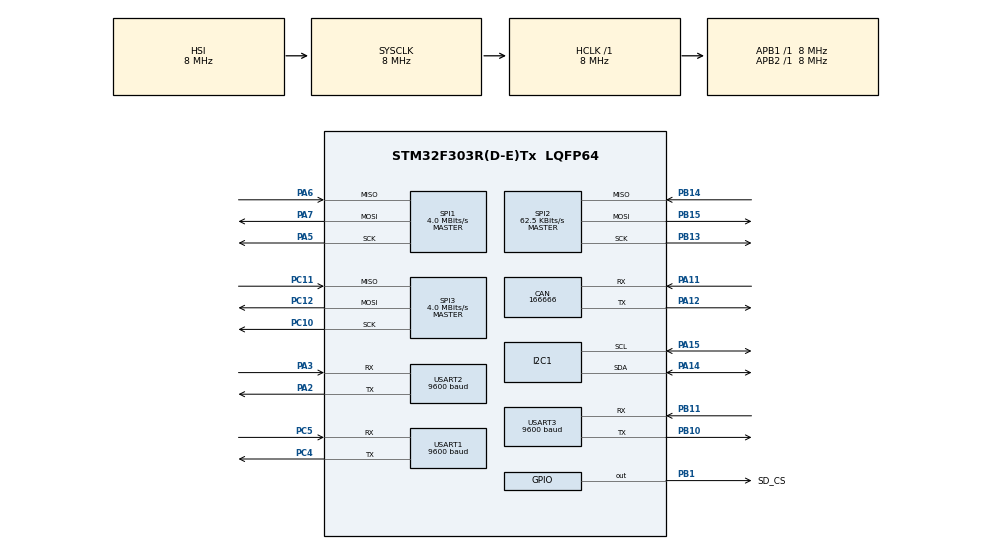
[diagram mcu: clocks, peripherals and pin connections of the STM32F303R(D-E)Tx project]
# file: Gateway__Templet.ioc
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CAN.CalculateBaudRate=166666
CAN.CalculateTimeBit=6000
CAN.CalculateTimeQuantum=2000.0
FREERTOS.Tasks01=defaultTask,24,128,StartDefaultTask,Default,NULL,Dynamic,NULL,NULL
FREERTOS.configUSE_NEWLIB_REENTRANT=1
Mcu.Family=STM32F3
Mcu.Name=STM32F303R(D-E)Tx
Mcu.Package=LQFP64
NVIC.PriorityGroup=NVIC_PRIORITYGROUP_4
NVIC.TIM1_UP_TIM16_IRQn=true\:15\:0\:false\:false\:true\:false\:false\:true\:true
NVIC.TimeBase=TIM1_UP_TIM16_IRQn
NVIC.TimeBaseIP=TIM1
PA11.Mode=CAN_Activate
PA11.Signal=CAN_RX
PA12.Mode=CAN_Activate
PA12.Signal=CAN_TX
PA14.Mode=I2C
PA14.Signal=I2C1_SDA
PA15.Mode=I2C
PA15.Signal=I2C1_SCL
PA2.Mode=Asynchronous
PA2.Signal=USART2_TX
PA3.Mode=Asynchronous
PA3.Signal=USART2_RX
PA5.Mode=Full_Duplex_Master
PA5.Signal=SPI1_SCK
PA6.Mode=Full_Duplex_Master
PA6.Signal=SPI1_MISO
PA7.Mode=Full_Duplex_Master
PA7.Signal=SPI1_MOSI
PB1.GPIO_Label=SD_CS
PB1.Signal=GPIO_Output
PB10.Mode=Asynchronous
PB10.Signal=USART3_TX
PB11.Mode=Asynchronous
PB11.Signal=USART3_RX
PB13.Mode=Full_Duplex_Master
PB13.Signal=SPI2_SCK
PB14.Mode=Full_Duplex_Master
PB14.Signal=SPI2_MISO
PB15.Mode=Full_Duplex_Master
PB15.Signal=SPI2_MOSI
PC10.Mode=Full_Duplex_Master
PC10.Signal=SPI3_SCK
PC11.Mode=Full_Duplex_Master
PC11.Signal=SPI3_MISO
PC12.Mode=Full_Duplex_Master
PC12.Signal=SPI3_MOSI
PC14-OSC32_IN.Mode=LSE-External-Clock-Source
PC14-OSC32_IN.Signal=RCC_OSC32_IN
PC4.Mode=Asynchronous
PC4.Signal=USART1_TX
PC5.Mode=Asynchronous
PC5.Signal=USART1_RX
PF0-OSC_IN.Mode=HSE-External-Oscillator
PF0-OSC_IN.Signal=RCC_OSC_IN
PF1-OSC_OUT.Mode=HSE-External-Oscillator
PF1-OSC_OUT.Signal=RCC_OSC_OUT
ProjectManager.HeapSize=0x200
ProjectManager.StackSize=0x400
ProjectManager.TargetToolchain=STM32CubeIDE
RCC.AHBFreq_Value=8000000
RCC.APB1Freq_Value=8000000
RCC.APB2Freq_Value=8000000
RCC.CortexFreq_Value=8000000
RCC.HSE_VALUE=8000000
RCC.HSI_VALUE=8000000
RCC.LSE_VALUE=32768
RCC.SYSCLKFreq_VALUE=8000000
RCC.USBFreq_Value=16000000
SPI1.CalculateBaudRate=4.0 MBits/s
SPI1.Direction=SPI_DIRECTION_2LINES
SPI1.Mode=SPI_MODE_MASTER
SPI1.VirtualType=VM_MASTER
SPI2.BaudRatePrescaler=SPI_BAUDRATEPRESCALER_128
SPI2.CalculateBaudRate=62.5 KBits/s
SPI2.DataSize=SPI_DATASIZE_8BIT
SPI2.Direction=SPI_DIRECTION_2LINES
SPI2.Mode=SPI_MODE_MASTER
SPI2.VirtualType=VM_MASTER
SPI3.CalculateBaudRate=4.0 MBits/s
SPI3.Direction=SPI_DIRECTION_2LINES
SPI3.Mode=SPI_MODE_MASTER
SPI3.VirtualType=VM_MASTER
USART1.BaudRate=9600
USART1.VirtualMode-Asynchronous=VM_ASYNC
USART2.BaudRate=9600
USART2.VirtualMode-Asynchronous=VM_ASYNC
USART3.BaudRate=9600
USART3.VirtualMode-Asynchronous=VM_ASYNC
VP_FATFS_VS_Generic.Mode=User_defined
VP_FREERTOS_VS_CMSIS_V2.Mode=CMSIS_V2
VP_SYS_VS_tim1.Mode=TIM1
board=custom

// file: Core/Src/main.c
/* USER CODE BEGIN Header */
/**
  ******************************************************************************
  * @file           : main.c
  * @brief          : Main program body
  ******************************************************************************
  * @attention
  *
  * Copyright (c) 2023 STMicroelectronics.
  * All rights reserved.
  *
  * This software is licensed under terms that can be found in the LICENSE file
  * in the root directory of this software component.
  * If no LICENSE file comes with this software, it is provided AS-IS.
  *
  ******************************************************************************
  */
/* USER CODE END Header */
#include "main.h"
#include "cmsis_os.h"
#include "can.h"
#include "fatfs.h"
#include "i2c.h"
#include "spi.h"
#include "usart.h"
#include "gpio.h"

/* USER CODE BEGIN Includes */
#include <string.h>
#include <stdarg.h>
/* USER CODE END Includes */

void SystemClock_Config(void);
void MX_FREERTOS_Init(void);

int main(void)
{

  /* MCU Configuration--------------------------------------------------------*/

  /* Reset of all peripherals, Initializes the Flash interface and the Systick. */
  HAL_Init();

  /* Configure the system clock */
  SystemClock_Config();

  /* Initialize all configured peripherals */
  MX_GPIO_Init();
  MX_CAN_Init();
  MX_I2C1_Init();
  MX_SPI1_Init();
  MX_SPI2_Init();
  MX_SPI3_Init();
  MX_USART1_UART_Init();
  MX_USART2_UART_Init();
  MX_USART3_UART_Init();
  MX_FATFS_Init();

  /* Init scheduler */
  osKernelInitialize();

  /* Call init function for freertos objects (in freertos.c) */
  MX_FREERTOS_Init();

  /* Start scheduler */
  osKernelStart();

  /* We should never get here as control is now taken by the scheduler */
  /* Infinite loop */
  while (1)
  {

  }
}

void SystemClock_Config(void)
{
  RCC_OscInitTypeDef RCC_OscInitStruct = {0};
  RCC_ClkInitTypeDef RCC_ClkInitStruct = {0};
  RCC_PeriphCLKInitTypeDef PeriphClkInit = {0};

  /** Initializes the RCC Oscillators according to the specified parameters
  * in the RCC_OscInitTypeDef structure.
  */
  RCC_OscInitStruct.OscillatorType = RCC_OSCILLATORTYPE_HSI;
  RCC_OscInitStruct.HSIState = RCC_HSI_ON;
  RCC_OscInitStruct.HSICalibrationValue = RCC_HSICALIBRATION_DEFAULT;
  RCC_OscInitStruct.PLL.PLLState = RCC_PLL_NONE;
  if (HAL_RCC_OscConfig(&RCC_OscInitStruct) != HAL_OK)
  {
    Error_Handler();
  }

  /** Initializes the CPU, AHB and APB buses clocks
  */
  RCC_ClkInitStruct.ClockType = RCC_CLOCKTYPE_HCLK|RCC_CLOCKTYPE_SYSCLK
                              |RCC_CLOCKTYPE_PCLK1|RCC_CLOCKTYPE_PCLK2;
  RCC_ClkInitStruct.SYSCLKSource = RCC_SYSCLKSOURCE_HSI;
  RCC_ClkInitStruct.AHBCLKDivider = RCC_SYSCLK_DIV1;
  RCC_ClkInitStruct.APB1CLKDivider = RCC_HCLK_DIV1;
  RCC_ClkInitStruct.APB2CLKDivider = RCC_HCLK_DIV1;

  if (HAL_RCC_ClockConfig(&RCC_ClkInitStruct, FLASH_LATENCY_0) != HAL_OK)
  {
    Error_Handler();
  }
  PeriphClkInit.PeriphClockSelection = RCC_PERIPHCLK_USART1|RCC_PERIPHCLK_USART2
                              |RCC_PERIPHCLK_USART3|RCC_PERIPHCLK_I2C1;
  PeriphClkInit.Usart1ClockSelection = RCC_USART1CLKSOURCE_PCLK2;
  PeriphClkInit.Usart2ClockSelection = RCC_USART2CLKSOURCE_PCLK1;
  PeriphClkInit.Usart3ClockSelection = RCC_USART3CLKSOURCE_PCLK1;
  PeriphClkInit.I2c1ClockSelection = RCC_I2C1CLKSOURCE_HSI;
  if (HAL_RCCEx_PeriphCLKConfig(&PeriphClkInit) != HAL_OK)
  {
    Error_Handler();
  }
}

void HAL_TIM_PeriodElapsedCallback(TIM_HandleTypeDef *htim)
{
  if (htim->Instance == TIM1) {
    HAL_IncTick();
  }
}

void Error_Handler(void)
{
  __disable_irq();
  while (1)
  {
  }
}

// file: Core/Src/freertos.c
/* USER CODE BEGIN Header */
/**
  ******************************************************************************
  * File Name          : freertos.c
  * Description        : Code for freertos applications
  ******************************************************************************
 **/
/* USER CODE END Header */

#include "FreeRTOS.h"
#include "task.h"
#include "main.h"
#include "cmsis_os.h"

/* USER CODE BEGIN PD */
#define  	_1S_					pdMS_TO_TICKS(1000)
/* USER CODE END PD */

/* Definitions for defaultTask */
osThreadId_t defaultTaskHandle;
const osThreadAttr_t defaultTask_attributes = {
  .name = "defaultTask",
  .stack_size = 128 * 4,
  .priority = (osPriority_t) osPriorityNormal,
};

/* USER CODE BEGIN FunctionPrototypes */
void MX_FREERTOS_Init(void); /* (MISRA C 2004 rule 8.1) */
void vRecord_TimerCallBack(TimerHandle_t Record_Timer);

/*USER TASKs BEGIN FunctionPrototypes*/

/* General Branch Fun */
void Check_Validity_Task_Func(void * pvParameters);
/* General Control Branch Fun */
void Init_Deinit_Reset_Task_Func(void * pvParameters);
void Control_Branch_Task_Func(void * pvParameters);
void Control_DMA_Task_Func(void * pvParameters);
/* ESP Branch Fun */
void Manage_ESP_Task_Func(void * pvParameters);
void Send_to_ESP_Task_Func(void * pvParameters);
void Receive_from_EST_Task_Func(void * pvParameters);
/* SD Branch Fun */
void Manage_SD_Task_Func(void * pvParameters);
void Send_to_SD_Task_Func(void * pvParameters);
void Receive_from_SD_Task_Func(void * pvParameters);
/* Main Nodes Branch Fun */
void Check_Network_Task_Func(void * pvParameters);
void Manage_Network_Task_Func(void * pvParameters);
void Manage_Connection_Task_Func(void * pvParameters);
void Receive_from_Node_Task_Func(void * pvParameters);
void Send_to_Node_Task_Func(void * pvParameters);

/*USER TASKs END FunctionPrototypes*/

/* USER CODE END FunctionPrototypes */

void StartDefaultTask(void *argument);

void MX_FREERTOS_Init(void); /* (MISRA C 2004 rule 8.1) */

void MX_FREERTOS_Init(void) {

  /* USER CODE BEGIN RTOS_SEMAPHORES */
  /* add semaphores, ... */
	// General Branches
	OUT_N_S_MConn_MNSD_Semph = xSemaphoreCreateBinary();
	// General control
	// ESP
	// SD
	// Nodes
	IN_N_CheckNet_Semph = xSemaphoreCreateBinary();
	IN_N_MConn_MNet_Semph = xSemaphoreCreateBinary();
  /* USER CODE END RTOS_SEMAPHORES */

  /* USER CODE BEGIN RTOS_TIMERS */
  /* start timers, add new ones, ... */
	Record_Timer = xTimerCreate("Record Timer", _1S_, pdTRUE, NULL, &vRecord_TimerCallBack ); // the periodic will change according to the flashing speed.
  /* USER CODE END RTOS_TIMERS */

  /* USER CODE BEGIN RTOS_QUEUES */
  /* add queues, ... */
	// General Branches
	OUT_E_S_MESP_MSD_Queue 	= xQueueCreate(2,sizeof(uint8_t));
	OUT_S_N_MSD_MNet_Queue 	= xQueueCreate(2,sizeof(uint8_t));
	OUT_S_N_MSD_MConn_Queue = xQueueCreate(2,sizeof(uint8_t));
	// General control
	IN_G_CBranch_CDMA_Queue = xQueueCreate(2,sizeof(uint8_t));
	// ESP
	IN_E_Receive_MESP_Queue = xQueueCreate(2,sizeof(uint8_t));
	IN_E_MESP_Send_Queue    = xQueueCreate(2,sizeof(uint8_t));
	// SD
	IN_S_Receive_MSD_Queue 	= xQueueCreate(2,sizeof(uint8_t));
	IN_S_MSD_Send_Queue 	= xQueueCreate(2,sizeof(uint8_t));
	// Nodes
	IN_N_MNetwork_MConn_Queue   = xQueueCreate(2,sizeof(uint8_t));
	IN_N_Receive_MConn_Queue    = xQueueCreate(2,sizeof(uint8_t));
	IN_N_MConn_Send_Queue 	    = xQueueCreate(2,sizeof(uint8_t));
	IN_N_Receive_CheckNet_Queue = xQueueCreate(2,sizeof(uint8_t));
	IN_N_CheckNet_Send_Queue 	= xQueueCreate(2,sizeof(uint8_t));
  /* USER CODE END RTOS_QUEUES */

  /* Create the thread(s) */
  /* creation of defaultTask */
  defaultTaskHandle = osThreadNew(StartDefaultTask, NULL, &defaultTask_attributes);

  /* USER CODE BEGIN RTOS_THREADS */
  /* add threads, ... */
	/* General Branch Fun */
	xTaskCreate( Check_Validity_Task_Func , "Check Validity"  , 100 , NULL , 26U , &Check_Validity_Task_Handler );
	/* General Control Branch Fun */
	xTaskCreate( Init_Deinit_Reset_Task_Func , "Initi,Deinit,and Reset"  , 100 , NULL , 30U , &Init_Deinit_Reset_Task_Handler );
	xTaskCreate( Control_Branch_Task_Func , "Control Branch"  , 100 , NULL , 29U , &Control_Branch_Task_Handler );
	xTaskCreate( Control_DMA_Task_Func , "Control DMA"  , 100 , NULL , 28U , &Control_DMA_Task_Handler );
	/* ESP Branch Fun */
	xTaskCreate( Receive_from_EST_Task_Func , "Receive from EST"  , 100 , NULL , 5U , &Receive_from_EST_Task_Handler );
	xTaskCreate( Manage_ESP_Task_Func , "Manage ESP"  , 100 , NULL , 4U , &Manage_ESP_Task_Handler );
	xTaskCreate( Send_to_ESP_Task_Func , "Send to ESP"  , 100 , NULL , 3U , &Send_to_ESP_Task_Handler );
	/* SD Branch Fun */
	xTaskCreate( Manage_SD_Task_Func , "Manage SD"  , 100 , NULL , 5U , &Manage_SD_Task_Handler );
	xTaskCreate( Send_to_SD_Task_Func , "Send to SD"  , 100 , NULL , 4U , &Send_to_SD_Task_Handler );
	xTaskCreate( Receive_from_SD_Task_Func , "Receive from SD"  , 100 , NULL , 3U , &Receive_from_SD_Task_Handler );
	/* Main Nodes Branch Fun */
	xTaskCreate( Check_Network_Task_Func , "Check Network"  , 100 , NULL , 5U , &Check_Network_Task_Handler );
	xTaskCreate( Manage_Network_Task_Func , "Manage Network"  , 100 , NULL , 4U , &Manage_Network_Task_Handler );
	xTaskCreate( Receive_from_Node_Task_Func , "Receive from Node"  , 100 , NULL , 3U , &Receive_from_Node_Task_Handler );
	xTaskCreate( Manage_Connection_Task_Func , "Manage Connection"  , 100 , NULL , 2U , &Manage_Connection_Task_Handler );
	xTaskCreate( Send_to_Node_Task_Func , "Send to Node"  , 100 , NULL , 1U , &Send_to_Node_Task_Handler );
  /* USER CODE END RTOS_THREADS */

}

void StartDefaultTask(void *argument)
{
  for(;;)
  {
    osDelay(1);
  }
}

/* USER CODE BEGIN Application */

/*@@@@@@@@@@@@@@@@@@@@@@@@@@@@@@@@@@@@@@@@@@@@@@@@@@@@@@@@@@@@@@@@@@@@@@@@@@@@*/
/* ISRs code -----------------------------------------------------------------*/
void vRecord_TimerCallBack(TimerHandle_t Bump_Dist_Timer)
{}
/*@@@@@@@@@@@@@@@@@@@@@@@@@@@@@@@@@@@@@@@@@@@@@@@@@@@@@@@@@@@@@@@@@@@@@@@@@@@@*/

/*@@@@@@@@@@@@@@@@@@@@@@@@@@@@@@@@@@@@@@@@@@@@@@@@@@@@@@@@@@@@@@@@@@@@@@@@@@@@*/
/* General Branch code -------------------------------------------------------*/

void Check_Validity_Task_Func(void * pvParameters)
{
	while(1)
	{

	}
}

/*@@@@@@@@@@@@@@@@@@@@@@@@@@@@@@@@@@@@@@@@@@@@@@@@@@@@@@@@@@@@@@@@@@@@@@@@@@@@*/

/*@@@@@@@@@@@@@@@@@@@@@@@@@@@@@@@@@@@@@@@@@@@@@@@@@@@@@@@@@@@@@@@@@@@@@@@@@@@@*/
/* General Control Branch code -----------------------------------------------*/
void Init_Deinit_Reset_Task_Func(void * pvParameters)
{
	while(1)
	{

	}
}

void Control_Branch_Task_Func(void * pvParameters)
{
	while(1)
	{

	}
}

void Control_DMA_Task_Func(void * pvParameters)
{
	while(1)
	{

	}
}
/*@@@@@@@@@@@@@@@@@@@@@@@@@@@@@@@@@@@@@@@@@@@@@@@@@@@@@@@@@@@@@@@@@@@@@@@@@@@@*/

/*@@@@@@@@@@@@@@@@@@@@@@@@@@@@@@@@@@@@@@@@@@@@@@@@@@@@@@@@@@@@@@@@@@@@@@@@@@@@*/
/* ESP Branch code -----------------------------------------------------------*/
void Manage_ESP_Task_Func(void * pvParameters)
{
	while(1)
	{

	}
}

void Send_to_ESP_Task_Func(void * pvParameters)
{
	while(1)
	{

	}
}

void Receive_from_EST_Task_Func(void * pvParameters)
{
	while(1)
	{

	}
}
/*@@@@@@@@@@@@@@@@@@@@@@@@@@@@@@@@@@@@@@@@@@@@@@@@@@@@@@@@@@@@@@@@@@@@@@@@@@@@*/

/*@@@@@@@@@@@@@@@@@@@@@@@@@@@@@@@@@@@@@@@@@@@@@@@@@@@@@@@@@@@@@@@@@@@@@@@@@@@@*/
/* SD Branch code -------------------------------------------------------*/

void Manage_SD_Task_Func(void * pvParameters)
{
	while(1)
	{

	}
}

void Send_to_SD_Task_Func(void * pvParameters)
{
	while(1)
	{

	}
}

void Receive_from_SD_Task_Func(void * pvParameters)
{
	while(1)
	{

	}
}
/*@@@@@@@@@@@@@@@@@@@@@@@@@@@@@@@@@@@@@@@@@@@@@@@@@@@@@@@@@@@@@@@@@@@@@@@@@@@@*/

/*@@@@@@@@@@@@@@@@@@@@@@@@@@@@@@@@@@@@@@@@@@@@@@@@@@@@@@@@@@@@@@@@@@@@@@@@@@@@*/
/* Main Nodes Branch code ----------------------------------------------------*/

void Check_Network_Task_Func(void * pvParameters)
{
	while(1)
	{

	}
}

void Manage_Network_Task_Func(void * pvParameters)
{
	while(1)
	{

	}
}

void Manage_Connection_Task_Func(void * pvParameters)
{
	while(1)
	{

	}
}

void Receive_from_Node_Task_Func(void * pvParameters)
{
	while(1)
	{

	}
}

void Send_to_Node_Task_Func(void * pvParameters)
{
	while(1)
	{

	}
}
/*@@@@@@@@@@@@@@@@@@@@@@@@@@@@@@@@@@@@@@@@@@@@@@@@@@@@@@@@@@@@@@@@@@@@@@@@@@@@*/

/* USER CODE END Application */
